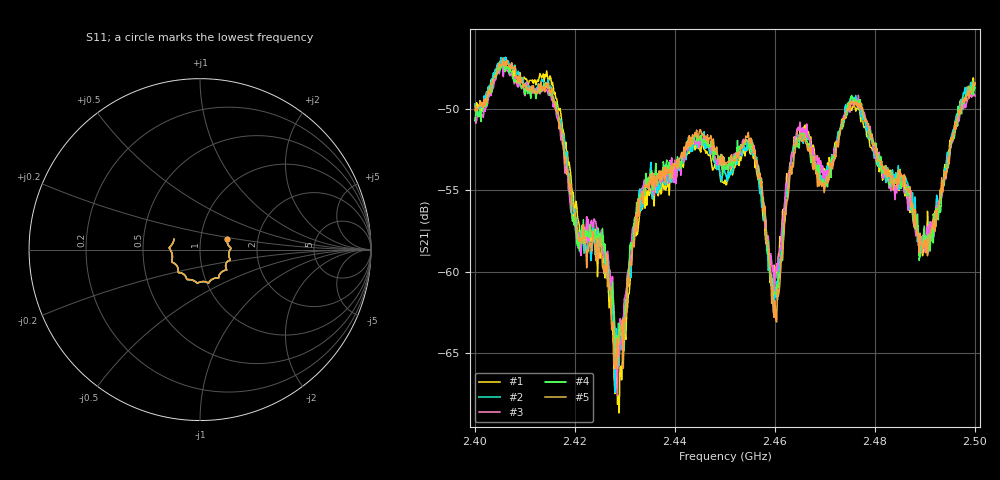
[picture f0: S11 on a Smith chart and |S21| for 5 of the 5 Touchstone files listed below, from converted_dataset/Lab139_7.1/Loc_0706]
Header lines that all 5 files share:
# Hz S RI R 50
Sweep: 2.4 GHz to 2.5 GHz
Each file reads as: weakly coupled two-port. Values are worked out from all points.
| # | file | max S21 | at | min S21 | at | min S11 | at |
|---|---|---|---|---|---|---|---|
| 1 | Lab_139_1Ch1.s2p | -46.93 dB | 2.4055 GHz | -68.7 dB | 2.4288 GHz | -15.8 dB | 2.4992 GHz |
| 2 | Lab_139_2Ch1.s2p | -46.81 dB | 2.4062 GHz | -67.4 dB | 2.428 GHz | -15.8 dB | 2.4993 GHz |
| 3 | Lab_139_5Ch1.s2p | -47.24 dB | 2.4058 GHz | -67.6 dB | 2.4285 GHz | -15.8 dB | 2.4992 GHz |
| 4 | Lab_139_8Ch1.s2p | -47.22 dB | 2.4057 GHz | -65.6 dB | 2.4285 GHz | -15.8 dB | 2.4993 GHz |
| 5 | Lab_139_9Ch1.s2p | -46.87 dB | 2.4055 GHz | -66.0 dB | 2.428 GHz | -15.8 dB | 2.499 GHz |
